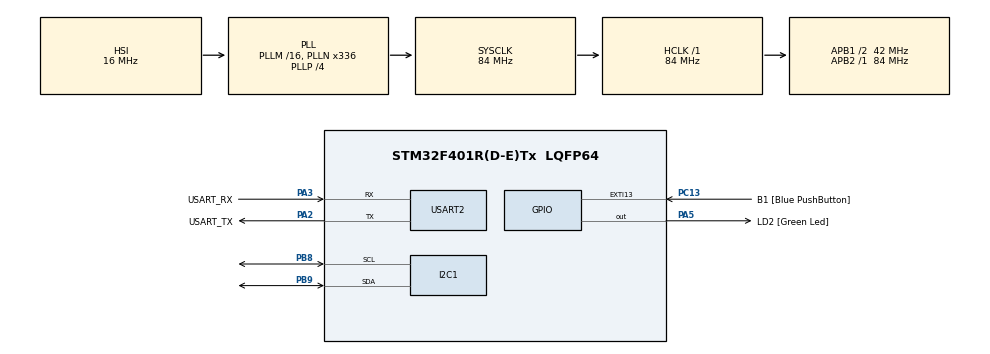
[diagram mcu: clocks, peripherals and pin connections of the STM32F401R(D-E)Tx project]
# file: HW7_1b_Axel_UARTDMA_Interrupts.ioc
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Dma.Request0=USART2_TX
Dma.USART2_TX.0.Direction=DMA_MEMORY_TO_PERIPH
Dma.USART2_TX.0.FIFOMode=DMA_FIFOMODE_DISABLE
Dma.USART2_TX.0.Instance=DMA1_Stream6
Dma.USART2_TX.0.MemDataAlignment=DMA_MDATAALIGN_BYTE
Dma.USART2_TX.0.MemInc=DMA_MINC_ENABLE
Dma.USART2_TX.0.Mode=DMA_NORMAL
Dma.USART2_TX.0.PeriphDataAlignment=DMA_PDATAALIGN_BYTE
Dma.USART2_TX.0.PeriphInc=DMA_PINC_DISABLE
Dma.USART2_TX.0.Priority=DMA_PRIORITY_LOW
Mcu.Family=STM32F4
Mcu.Name=STM32F401R(D-E)Tx
Mcu.Package=LQFP64
NVIC.DMA1_Stream6_IRQn=true\:0\:0\:false\:false\:true\:false\:true\:true
NVIC.PriorityGroup=NVIC_PRIORITYGROUP_0
NVIC.TIM2_IRQn=true\:0\:0\:false\:false\:true\:true\:true\:true
NVIC.USART2_IRQn=true\:0\:0\:false\:false\:true\:true\:true\:true
PA13.GPIO_Label=TMS
PA13.Mode=Serial_Wire
PA13.Signal=SYS_JTMS-SWDIO
PA14.GPIO_Label=TCK
PA14.Mode=Serial_Wire
PA14.Signal=SYS_JTCK-SWCLK
PA2.GPIO_Label=USART_TX
PA2.GPIO_Mode=GPIO_MODE_AF_PP
PA2.GPIO_PuPd=GPIO_NOPULL
PA2.GPIO_Speed=GPIO_SPEED_FREQ_LOW
PA2.Mode=Asynchronous
PA2.Signal=USART2_TX
PA3.GPIO_Label=USART_RX
PA3.GPIO_Mode=GPIO_MODE_AF_PP
PA3.GPIO_PuPd=GPIO_NOPULL
PA3.GPIO_Speed=GPIO_SPEED_FREQ_LOW
PA3.Mode=Asynchronous
PA3.Signal=USART2_RX
PA5.GPIO_Label=LD2 [Green Led]
PA5.GPIO_Mode=GPIO_MODE_OUTPUT_PP
PA5.GPIO_PuPd=GPIO_NOPULL
PA5.GPIO_Speed=GPIO_SPEED_FREQ_LOW
PA5.Signal=GPIO_Output
PB3.GPIO_Label=SWO
PB3.Signal=SYS_JTDO-SWO
PB8.Mode=I2C
PB8.Signal=I2C1_SCL
PB9.Mode=I2C
PB9.Signal=I2C1_SDA
PC13-ANTI_TAMP.GPIO_Label=B1 [Blue PushButton]
PC13-ANTI_TAMP.GPIO_ModeDefaultEXTI=GPIO_MODE_IT_FALLING
PC13-ANTI_TAMP.GPIO_PuPd=GPIO_NOPULL
PC13-ANTI_TAMP.Signal=GPXTI13
PC14-OSC32_IN.Mode=LSE-External-Oscillator
PC14-OSC32_IN.Signal=RCC_OSC32_IN
PC15-OSC32_OUT.Mode=LSE-External-Oscillator
PC15-OSC32_OUT.Signal=RCC_OSC32_OUT
PH0\ -\ OSC_IN.Mode=HSE-External-Clock-Source
PH0\ -\ OSC_IN.Signal=RCC_OSC_IN
PH1\ -\ OSC_OUT.Mode=HSE-External-Clock-Source
PH1\ -\ OSC_OUT.Signal=RCC_OSC_OUT
ProjectManager.HeapSize=0x200
ProjectManager.StackSize=0x400
ProjectManager.TargetToolchain=STM32CubeIDE
RCC.48MHZClocksFreq_Value=48000000
RCC.AHBFreq_Value=84000000
RCC.APB1CLKDivider=RCC_HCLK_DIV2
RCC.APB1Freq_Value=42000000
RCC.APB1TimFreq_Value=84000000
RCC.APB2Freq_Value=84000000
RCC.APB2TimFreq_Value=84000000
RCC.CortexFreq_Value=84000000
RCC.HCLKFreq_Value=84000000
RCC.HSE_VALUE=8000000
RCC.HSI_VALUE=16000000
RCC.PLLN=336
RCC.PLLP=RCC_PLLP_DIV4
RCC.PLLQ=7
RCC.SYSCLKFreq_VALUE=84000000
RCC.SYSCLKSource=RCC_SYSCLKSOURCE_PLLCLK
RCC.VCOOutputFreq_Value=336000000
TIM2.Period=10000-1
TIM2.Prescaler=8400-1
USART2.VirtualMode=VM_ASYNC
VP_TIM2_VS_ClockSourceINT.Mode=Internal
board=NUCLEO-F401RE

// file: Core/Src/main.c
/* USER CODE BEGIN Header */
/**
  ******************************************************************************
  * @file           : main.c
  * @brief          : Main program body
  ******************************************************************************
  * @attention
  *
  * Copyright (c) 2022 STMicroelectronics.
  * All rights reserved.
  *
  * This software is licensed under terms that can be found in the LICENSE file
  * in the root directory of this software component.
  * If no LICENSE file comes with this software, it is provided AS-IS.
  *
  ******************************************************************************
  */
/* USER CODE END Header */
#include "main.h"

/* USER CODE BEGIN Includes */
#include "string.h"
/* USER CODE END Includes */

I2C_HandleTypeDef hi2c1;

TIM_HandleTypeDef htim2;

UART_HandleTypeDef huart2;
DMA_HandleTypeDef hdma_usart2_tx;

/* USER CODE BEGIN PV */

	//Axel address
	uint8_t address = 0b01010000;

	//LIS2DE12
	uint8_t LIS2DE12_addr = 0b00110000;

	//REG1 : 1Hz + 3 axis enabled
	uint8_t ctrl_reg1[] = {0x20, 0b00010111};

	//REG2 : no High pass filter
	uint8_t ctrl_reg2[] = {0x21, 0b00000000};

	//REG4 : continuous update + 2gFSR
	uint8_t ctrl_reg4[] = {0x23, 0b00000000};

	//Output addresses
	uint8_t x_output_addr = 0x29;
	uint8_t y_output_addr = 0x2B;
	uint8_t z_output_addr = 0x2D;

/* USER CODE END PV */

void SystemClock_Config(void);
static void MX_GPIO_Init(void);
static void MX_DMA_Init(void);
static void MX_USART2_UART_Init(void);
static void MX_I2C1_Init(void);
static void MX_TIM2_Init(void);

/* USER CODE BEGIN 0 */

	void HAL_TIM_PeriodElapsedCallback(TIM_HandleTypeDef *htim){
		if(htim==&htim2){

		  int8_t x_value, y_value, z_value = 0;
		  int len = 0;
		  char str[64];

		  HAL_I2C_Master_Transmit(&hi2c1, address, &x_output_addr, 1, 50);
		  HAL_I2C_Master_Receive(&hi2c1, address+1, &x_value, 1, 20);

		  HAL_I2C_Master_Transmit(&hi2c1, address, &y_output_addr, 1, 50);
		  HAL_I2C_Master_Receive(&hi2c1, address+1, &y_value, 1, 50);

		  HAL_I2C_Master_Transmit(&hi2c1, address, &z_output_addr, 1, 50);
		  HAL_I2C_Master_Receive(&hi2c1, address+1, &z_value, 1, 50);

		  float x_g_value = x_value/64.0;
		  float y_g_value = y_value/64.0;
		  float z_g_value = z_value/64.0;

		  len = snprintf(str, sizeof(str), "X: %+.2f g\r\nY: %+.2f g\r\nZ: %+.2f g\r\n\n", x_g_value, y_g_value, z_g_value);
		  HAL_UART_Transmit_DMA(&huart2, (uint8_t*)&str, strlen(str));

		  HAL_TIM_Base_Start_IT(&htim2);
		}
	}

/* USER CODE END 0 */

int main(void)
{

  /* MCU Configuration--------------------------------------------------------*/

  /* Reset of all peripherals, Initializes the Flash interface and the Systick. */
  HAL_Init();

  /* Configure the system clock */
  SystemClock_Config();

  /* Initialize all configured peripherals */
  MX_GPIO_Init();
  MX_DMA_Init();
  MX_USART2_UART_Init();
  MX_I2C1_Init();
  MX_TIM2_Init();
  /* USER CODE BEGIN 2 */

  char str[64];
  int len = 0;

  //Axel initialization

  if(HAL_I2C_Master_Transmit(&hi2c1, address, ctrl_reg1, 1, 10) == HAL_OK){
	  len = snprintf(str, sizeof(str), "You have LIS2DE\r\n");
  }else{
	  address = LIS2DE12_addr;

	  if(HAL_I2C_Master_Transmit(&hi2c1, address, ctrl_reg1, 1, 10) == HAL_OK){
		  len = snprintf(str, sizeof(str), "You have LIS2DE12\r\n");
	  }else{
		  len = snprintf(str, sizeof(str), "No accelerometer found\r\n");
	  }
  }

  HAL_UART_Transmit_DMA(&huart2, str, len);

  //Register configuration
  HAL_I2C_Master_Transmit(&hi2c1, address, ctrl_reg1, 2,10);
  HAL_I2C_Master_Transmit(&hi2c1, address, ctrl_reg2, 2,10);
  HAL_I2C_Master_Transmit(&hi2c1, address, ctrl_reg4, 2,10);

  HAL_TIM_Base_Start_IT(&htim2);
  /* USER CODE END 2 */

  /* Infinite loop */
  while (1)
  {

  }
}

void SystemClock_Config(void)
{
  RCC_OscInitTypeDef RCC_OscInitStruct = {0};
  RCC_ClkInitTypeDef RCC_ClkInitStruct = {0};

  /** Configure the main internal regulator output voltage
  */
  __HAL_RCC_PWR_CLK_ENABLE();
  __HAL_PWR_VOLTAGESCALING_CONFIG(PWR_REGULATOR_VOLTAGE_SCALE2);

  /** Initializes the RCC Oscillators according to the specified parameters
  * in the RCC_OscInitTypeDef structure.
  */
  RCC_OscInitStruct.OscillatorType = RCC_OSCILLATORTYPE_HSI;
  RCC_OscInitStruct.HSIState = RCC_HSI_ON;
  RCC_OscInitStruct.HSICalibrationValue = RCC_HSICALIBRATION_DEFAULT;
  RCC_OscInitStruct.PLL.PLLState = RCC_PLL_ON;
  RCC_OscInitStruct.PLL.PLLSource = RCC_PLLSOURCE_HSI;
  RCC_OscInitStruct.PLL.PLLM = 16;
  RCC_OscInitStruct.PLL.PLLN = 336;
  RCC_OscInitStruct.PLL.PLLP = RCC_PLLP_DIV4;
  RCC_OscInitStruct.PLL.PLLQ = 7;
  if (HAL_RCC_OscConfig(&RCC_OscInitStruct) != HAL_OK)
  {
    Error_Handler();
  }

  /** Initializes the CPU, AHB and APB buses clocks
  */
  RCC_ClkInitStruct.ClockType = RCC_CLOCKTYPE_HCLK|RCC_CLOCKTYPE_SYSCLK
                              |RCC_CLOCKTYPE_PCLK1|RCC_CLOCKTYPE_PCLK2;
  RCC_ClkInitStruct.SYSCLKSource = RCC_SYSCLKSOURCE_PLLCLK;
  RCC_ClkInitStruct.AHBCLKDivider = RCC_SYSCLK_DIV1;
  RCC_ClkInitStruct.APB1CLKDivider = RCC_HCLK_DIV2;
  RCC_ClkInitStruct.APB2CLKDivider = RCC_HCLK_DIV1;

  if (HAL_RCC_ClockConfig(&RCC_ClkInitStruct, FLASH_LATENCY_2) != HAL_OK)
  {
    Error_Handler();
  }
}

static void MX_I2C1_Init(void)
{

  hi2c1.Instance = I2C1;
  hi2c1.Init.ClockSpeed = 100000;
  hi2c1.Init.DutyCycle = I2C_DUTYCYCLE_2;
  hi2c1.Init.OwnAddress1 = 0;
  hi2c1.Init.AddressingMode = I2C_ADDRESSINGMODE_7BIT;
  hi2c1.Init.DualAddressMode = I2C_DUALADDRESS_DISABLE;
  hi2c1.Init.OwnAddress2 = 0;
  hi2c1.Init.GeneralCallMode = I2C_GENERALCALL_DISABLE;
  hi2c1.Init.NoStretchMode = I2C_NOSTRETCH_DISABLE;
  if (HAL_I2C_Init(&hi2c1) != HAL_OK)
  {
    Error_Handler();
  }

}

static void MX_TIM2_Init(void)
{

  TIM_ClockConfigTypeDef sClockSourceConfig = {0};
  TIM_MasterConfigTypeDef sMasterConfig = {0};

  htim2.Instance = TIM2;
  htim2.Init.Prescaler = 8400-1;
  htim2.Init.CounterMode = TIM_COUNTERMODE_UP;
  htim2.Init.Period = 10000-1;
  htim2.Init.ClockDivision = TIM_CLOCKDIVISION_DIV1;
  htim2.Init.AutoReloadPreload = TIM_AUTORELOAD_PRELOAD_DISABLE;
  if (HAL_TIM_Base_Init(&htim2) != HAL_OK)
  {
    Error_Handler();
  }
  sClockSourceConfig.ClockSource = TIM_CLOCKSOURCE_INTERNAL;
  if (HAL_TIM_ConfigClockSource(&htim2, &sClockSourceConfig) != HAL_OK)
  {
    Error_Handler();
  }
  sMasterConfig.MasterOutputTrigger = TIM_TRGO_RESET;
  sMasterConfig.MasterSlaveMode = TIM_MASTERSLAVEMODE_DISABLE;
  if (HAL_TIMEx_MasterConfigSynchronization(&htim2, &sMasterConfig) != HAL_OK)
  {
    Error_Handler();
  }

}

static void MX_USART2_UART_Init(void)
{

  huart2.Instance = USART2;
  huart2.Init.BaudRate = 115200;
  huart2.Init.WordLength = UART_WORDLENGTH_8B;
  huart2.Init.StopBits = UART_STOPBITS_1;
  huart2.Init.Parity = UART_PARITY_NONE;
  huart2.Init.Mode = UART_MODE_TX_RX;
  huart2.Init.HwFlowCtl = UART_HWCONTROL_NONE;
  huart2.Init.OverSampling = UART_OVERSAMPLING_16;
  if (HAL_UART_Init(&huart2) != HAL_OK)
  {
    Error_Handler();
  }

}

static void MX_DMA_Init(void)
{

  /* DMA controller clock enable */
  __HAL_RCC_DMA1_CLK_ENABLE();

  /* DMA interrupt init */
  /* DMA1_Stream6_IRQn interrupt configuration */
  HAL_NVIC_SetPriority(DMA1_Stream6_IRQn, 0, 0);
  HAL_NVIC_EnableIRQ(DMA1_Stream6_IRQn);

}

static void MX_GPIO_Init(void)
{
  GPIO_InitTypeDef GPIO_InitStruct = {0};

  /* GPIO Ports Clock Enable */
  __HAL_RCC_GPIOC_CLK_ENABLE();
  __HAL_RCC_GPIOH_CLK_ENABLE();
  __HAL_RCC_GPIOA_CLK_ENABLE();
  __HAL_RCC_GPIOB_CLK_ENABLE();

  /*Configure GPIO pin Output Level */
  HAL_GPIO_WritePin(LD2_GPIO_Port, LD2_Pin, GPIO_PIN_RESET);

  /*Configure GPIO pin : B1_Pin */
  GPIO_InitStruct.Pin = B1_Pin;
  GPIO_InitStruct.Mode = GPIO_MODE_IT_FALLING;
  GPIO_InitStruct.Pull = GPIO_NOPULL;
  HAL_GPIO_Init(B1_GPIO_Port, &GPIO_InitStruct);

  /*Configure GPIO pin : LD2_Pin */
  GPIO_InitStruct.Pin = LD2_Pin;
  GPIO_InitStruct.Mode = GPIO_MODE_OUTPUT_PP;
  GPIO_InitStruct.Pull = GPIO_NOPULL;
  GPIO_InitStruct.Speed = GPIO_SPEED_FREQ_LOW;
  HAL_GPIO_Init(LD2_GPIO_Port, &GPIO_InitStruct);

}

void Error_Handler(void)
{
  __disable_irq();
  while (1)
  {
  }
}
